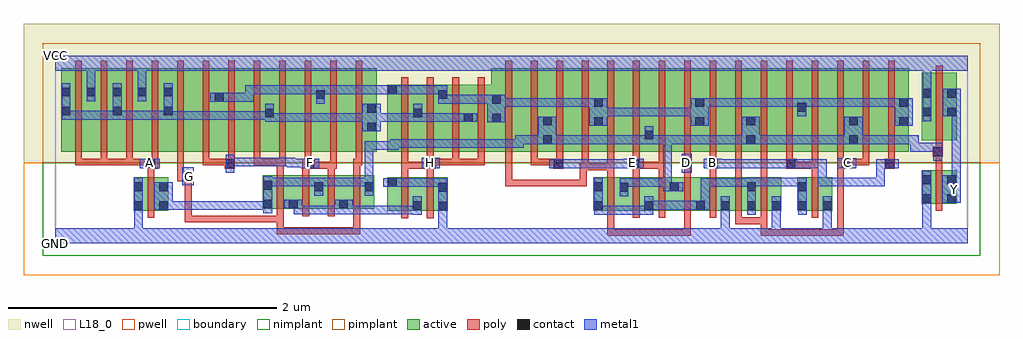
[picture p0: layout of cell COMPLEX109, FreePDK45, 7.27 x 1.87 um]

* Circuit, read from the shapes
.subckt COMPLEX109 A B C D E F G GND H VCC Y
M1 n1 A GND VSUBS nfet w=0.25u l=0.05u
M2 n2 G n1 VSUBS nfet w=0.25u l=0.05u m=2
M3 n1 F n2 VSUBS nfet w=0.25u l=0.05u m=2
M4 n2 H GND VSUBS nfet w=0.25u l=0.05u m=2
M5 n1 D n3 VSUBS nfet w=0.25u l=0.05u m=2
M6 n3 E n1 VSUBS nfet w=0.25u l=0.05u m=2
M7 GND B n3 VSUBS nfet w=0.25u l=0.05u m=2
M8 n3 C GND VSUBS nfet w=0.25u l=0.05u m=2
M9 Y n1 GND VSUBS nfet w=0.25u l=0.05u
M10 VCC A n4 n5 pfet w=0.625u l=0.05u m=4
M11 n6 G n4 n5 pfet w=0.625u l=0.05u
M12 n7 F n6 n5 pfet w=0.625u l=0.05u
M13 n8 F n7 n5 pfet w=0.625u l=0.05u
M14 n4 G n8 n5 pfet w=0.625u l=0.05u
M15 n9 G n4 n5 pfet w=0.625u l=0.05u
M16 n7 F n9 n5 pfet w=0.625u l=0.05u
M17 n10 F n7 n5 pfet w=0.625u l=0.05u
M18 n4 G n10 n5 pfet w=0.625u l=0.05u
M19 n4 H n7 n5 pfet w=0.5u l=0.05u m=4
M20 n11 D n7 n5 pfet w=0.625u l=0.05u
M21 n1 E n11 n5 pfet w=0.625u l=0.05u
M22 n12 E n1 n5 pfet w=0.625u l=0.05u
M23 n7 D n12 n5 pfet w=0.625u l=0.05u
M24 n13 D n7 n5 pfet w=0.625u l=0.05u
M25 n1 E n13 n5 pfet w=0.625u l=0.05u
M26 n14 E n1 n5 pfet w=0.625u l=0.05u
M27 n7 D n14 n5 pfet w=0.625u l=0.05u
M28 n15 B n7 n5 pfet w=0.625u l=0.05u
M29 n1 C n15 n5 pfet w=0.625u l=0.05u
M30 n16 C n1 n5 pfet w=0.625u l=0.05u
M31 n7 B n16 n5 pfet w=0.625u l=0.05u
M32 n17 B n7 n5 pfet w=0.625u l=0.05u
M33 n1 C n17 n5 pfet w=0.625u l=0.05u
M34 n18 C n1 n5 pfet w=0.625u l=0.05u
M35 n7 B n18 n5 pfet w=0.625u l=0.05u
M36 Y n1 VCC n5 pfet w=0.5u l=0.05u
.ends

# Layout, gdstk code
import gdstk
lib = gdstk.Library(unit=1e-6, precision=1e-09)
def R(c, l, rs):  # rectangles x0, y0, x1, y1
    for r in rs: c.add(gdstk.rectangle(r[:2], r[2:], *l))
def A(c, l, x, y, w, h, nx, ny, dx, dy):  # array of equal rectangles
    R(c, l, [(x+i*dx, y+j*dy, x+i*dx+w, y+j*dy+h) for i in range(nx) for j in range(ny)])
active = (1, 0)
pwell = (2, 0)
nwell = (3, 0)
nimplant = (4, 0)
pimplant = (5, 0)
poly = (9, 0)
contact = (10, 0)
metal1 = (11, 0)
L18_0 = (18, 0)
boundary = (235, 0)

complex109 = lib.new_cell('COMPLEX109')
A(complex109, active, 4.77, 0.245, 0.26, 0.25, 3, 1, 0.38, 0)
A(complex109, active, 0.045, 0.682, 0.075, 0.518, 4, 1, 0.38, 0)
A(complex109, active, 1.41, 0.682, 0.225, 0.625, 3, 1, 0.38, 0)
A(complex109, active, 3.25, 0.682, 0.225, 0.625, 3, 1, 0.38, 0)
A(complex109, active, 4.615, 0.682, 0.225, 0.625, 3, 1, 0.38, 0)
A(complex109, active, 4.765, 0.682, 0.075, 0.518, 3, 1, 0.76, 0)
A(complex109, active, 4.765, 0.682, 0.23, 0.625, 3, 1, 0.38, 0)
R(complex109, active, [(2.475,0.242,2.735,0.492), (2.66,0.242,2.925,0.492), (2.66,0.242,2.735,0.342), (2.85,0.242,2.925,0.492), (0.585,0.245,0.66,0.495), (0.585,0.245,0.845,0.495), (0.77,0.245,0.845,0.495), (4.01,0.245,4.085,0.495), (4.01,0.245,4.275,0.495), (4.2,0.245,4.46,0.495), (4.385,0.245,4.65,0.495), (4.385,0.245,4.46,0.467), (4.575,0.245,4.845,0.495), (4.77,0.245,4.845,0.342), (4.955,0.245,5.225,0.495), (4.955,0.245,5.03,0.342), (5.15,0.245,5.225,0.46), (5.335,0.245,5.41,0.495), (5.53,0.245,5.605,0.495), (5.715,0.245,5.79,0.495), (1.547,0.257,1.622,0.507), (1.547,0.257,1.812,0.507), (1.737,0.257,2.002,0.507), (1.737,0.257,1.812,0.372), (1.927,0.257,2.187,0.507), (2.112,0.257,2.377,0.507), (2.112,0.257,2.187,0.405), (1.927,0.297,2.002,0.467), (2.302,0.297,2.377,0.507), (2.475,0.297,2.55,0.492), (4.2,0.297,4.275,0.457), (4.575,0.297,4.65,0.46), (6.455,0.297,6.53,0.547), (6.455,0.297,6.715,0.547), (6.64,0.297,6.715,0.547), (0.045,0.682,0.305,1.307), (0.23,0.682,0.5,1.307), (0.23,0.682,0.305,1.307), (0.425,0.682,0.685,1.307), (0.61,0.682,0.88,1.307), (0.61,0.682,0.685,1.282), (0.805,0.682,1.03,1.307), (1.03,0.682,1.26,1.307), (1.185,0.682,1.41,1.307), (1.56,0.682,1.635,1.07), (1.56,0.682,1.79,1.307), (1.94,0.682,2.015,1.2), (1.94,0.682,2.17,1.307), (2.32,0.682,2.395,1.07), (2.475,0.682,2.74,1.182), (2.665,0.682,2.925,1.182), (2.85,0.682,3.115,1.182), (3.04,0.682,3.115,1.07), (3.04,0.682,3.325,1.182), (3.25,0.682,3.325,1.2), (3.475,0.682,3.705,1.307), (3.63,0.682,3.705,1.07), (3.855,0.682,4.085,1.307), (4.01,0.682,4.085,1.2), (4.235,0.682,4.462,1.307), (4.387,0.682,4.462,1.07), (4.387,0.682,4.615,1.307), (5.145,0.682,5.22,1.07), (5.755,0.682,5.985,1.307), (5.91,0.682,6.135,1.307), (5.91,0.682,5.985,1.07), (6.135,0.682,6.36,1.307), (2.475,0.72,2.55,1.182), (2.665,0.722,2.74,1.07), (6.457,0.77,6.532,1.157), (6.457,0.77,6.717,1.27), (6.642,0.77,6.717,1.157), (2.85,0.807,2.925,1.157)])
R(complex109, pwell, [(-0.235,-0.235,7.035,0.602)])
R(complex109, nwell, [(-0.235,0.602,7.035,1.635)])
R(complex109, nimplant, [(-0.09,-0.09,6.89,0.602)])
R(complex109, pimplant, [(-0.09,0.602,6.89,1.49)])
A(complex109, poly, 4.115, 0.19, 0.05, 0.36, 7, 1, 0.19, 0)
A(complex109, poly, 1.652, 0.202, 0.05, 0.36, 4, 1, 0.19, 0)
A(complex109, poly, 4.305, 0.5, 0.05, 0.107, 4, 1, 0.19, 0)
A(complex109, poly, 0.15, 0.582, 0.05, 0.095, 4, 1, 0.19, 0)
A(complex109, poly, 0.15, 0.582, 0.05, 0.05, 3, 1, 0.19, 0)
A(complex109, poly, 1.1, 0.582, 0.05, 0.095, 5, 1, 0.19, 0)
A(complex109, poly, 2.77, 0.582, 0.05, 0.095, 3, 1, 0.19, 0)
A(complex109, poly, 5.825, 0.582, 0.05, 0.095, 3, 1, 0.19, 0)
A(complex109, poly, 0.15, 0.627, 0.05, 0.735, 12, 1, 0.19, 0)
A(complex109, poly, 2.58, 0.627, 0.05, 0.61, 4, 1, 0.19, 0)
A(complex109, poly, 3.355, 0.627, 0.05, 0.735, 16, 1, 0.19, 0)
R(complex109, poly, [(4.115,0.057,4.165,0.107), (4.115,0.057,4.165,0.107), (4.115,0.057,4.165,0.107), (4.115,0.057,4.165,0.107), (4.115,0.057,4.165,0.107), (4.115,0.057,4.165,0.24), (4.115,0.057,4.412,0.107), (4.362,0.057,4.412,0.107), (4.362,0.057,4.412,0.107), (4.362,0.057,4.412,0.107), (4.362,0.057,4.545,0.107), (4.495,0.057,4.545,0.107), (4.495,0.057,4.735,0.107), (4.685,0.057,4.735,0.107), (4.685,0.057,4.735,0.107), (4.685,0.057,4.735,0.107), (4.685,0.057,4.735,0.107), (4.685,0.057,4.735,0.107), (4.685,0.057,4.735,0.24), (5.255,0.057,5.305,0.107), (5.255,0.057,5.305,0.107), (5.255,0.057,5.437,0.107), (5.255,0.057,5.305,0.195), (5.387,0.057,5.437,0.107), (5.387,0.057,5.437,0.107), (5.387,0.057,5.437,0.107), (5.387,0.057,5.742,0.107), (5.692,0.057,5.742,0.107), (5.692,0.057,5.875,0.107), (5.825,0.057,5.875,0.107), (5.825,0.057,5.875,0.107), (5.825,0.057,5.875,0.107), (5.825,0.057,5.875,0.107), (5.825,0.057,5.875,0.107), (5.825,0.057,5.875,0.107), (5.825,0.057,5.875,0.107), (5.825,0.057,5.875,0.607), (1.652,0.07,1.835,0.12), (1.652,0.07,1.702,0.207), (1.785,0.07,1.835,0.12), (1.785,0.07,1.835,0.12), (1.785,0.07,1.835,0.12), (1.785,0.07,2.07,0.12), (2.02,0.07,2.07,0.12), (2.02,0.07,2.07,0.12), (2.02,0.07,2.07,0.12), (2.02,0.07,2.272,0.12), (2.222,0.07,2.272,0.12), (2.222,0.07,2.272,0.12), (2.222,0.07,2.272,0.12), (2.222,0.07,2.272,0.252), (5.065,0.145,5.115,0.24), (5.065,0.145,5.115,0.195), (5.065,0.145,5.115,0.195), (5.065,0.145,5.115,0.195), (5.065,0.145,5.305,0.195), (5.255,0.145,5.305,0.24), (0.967,0.157,1.017,0.207), (0.967,0.157,1.017,0.207), (0.967,0.157,1.017,0.207), (0.967,0.157,1.017,0.207), (0.967,0.157,1.017,0.207), (0.967,0.157,1.017,0.207), (0.967,0.157,1.017,0.207), (0.967,0.157,1.182,0.207), (0.967,0.157,1.017,0.512), (1.132,0.157,1.182,0.207), (1.132,0.157,1.182,0.207), (1.132,0.157,1.182,0.207), (1.132,0.157,1.315,0.207), (1.265,0.157,1.315,0.207), (1.265,0.157,1.315,0.207), (1.265,0.157,1.315,0.207), (1.265,0.157,1.57,0.207), (1.52,0.157,1.57,0.207), (1.52,0.157,1.57,0.207), (1.52,0.157,1.57,0.207), (1.52,0.157,1.702,0.207), (1.652,0.157,1.702,0.252), (2.58,0.187,2.63,0.547), (2.77,0.187,2.82,0.547), (0.69,0.19,0.74,0.55), (5.635,0.19,5.685,0.55), (6.56,0.242,6.61,0.602), (3.355,0.425,3.405,0.475), (3.355,0.425,3.405,0.475), (3.355,0.425,3.405,0.475), (3.355,0.425,3.405,0.475), (3.355,0.425,3.405,0.475), (3.355,0.425,3.405,0.475), (3.355,0.425,3.405,0.475), (3.355,0.425,3.627,0.475), (3.355,0.425,3.405,0.677), (3.577,0.425,3.627,0.475), (3.577,0.425,3.627,0.475), (3.577,0.425,3.627,0.475), (3.577,0.425,3.76,0.475), (3.71,0.425,3.76,0.475), (3.71,0.425,3.76,0.475), (3.71,0.425,3.76,0.475), (3.71,0.425,3.96,0.475), (3.91,0.425,3.96,0.475), (3.91,0.425,3.96,0.475), (3.91,0.425,3.96,0.475), (3.91,0.425,3.96,0.595), (0.91,0.462,1.017,0.537), (0.91,0.487,0.96,0.677), (2.58,0.497,2.63,0.607), (2.77,0.497,2.82,0.607), (0.69,0.5,0.74,0.607), (4.115,0.5,4.165,0.595), (5.065,0.5,5.115,0.595), (5.255,0.5,5.305,0.595), (5.635,0.5,5.685,0.607), (1.652,0.512,1.702,0.632), (1.842,0.512,1.892,0.607), (2.032,0.512,2.082,0.607), (2.222,0.512,2.272,0.632), (3.91,0.545,3.975,0.595), (3.925,0.545,3.975,0.595), (3.925,0.545,3.975,0.595), (3.925,0.545,3.975,0.677), (3.925,0.545,4.165,0.595), (4.115,0.545,4.165,0.595), (4.115,0.545,4.165,0.677), (5.065,0.545,5.115,0.595), (5.065,0.545,5.115,0.677), (5.255,0.545,5.305,0.595), (5.255,0.545,5.305,0.677), (6.56,0.552,6.61,0.695), (0.675,0.557,0.77,0.632), (1.265,0.557,1.34,0.632), (1.842,0.557,1.937,0.632), (1.887,0.557,2.082,0.607), (2.032,0.557,2.082,0.607), (2.032,0.557,2.082,0.607), (2.032,0.557,2.1,0.607), (2.05,0.557,2.1,0.677), (2.58,0.557,2.63,0.607), (2.58,0.557,2.63,0.607), (2.58,0.557,2.63,0.607), (2.58,0.557,2.63,0.677), (2.58,0.557,2.812,0.607), (2.762,0.557,2.837,0.632), (3.71,0.557,3.785,0.632), (4.28,0.557,4.355,0.632), (4.305,0.557,4.355,0.607), (4.305,0.557,4.355,0.607), (4.305,0.557,4.545,0.607), (4.495,0.557,4.545,0.607), (4.495,0.557,4.545,0.677), (4.665,0.557,4.74,0.632), (4.862,0.557,4.937,0.632), (5.445,0.557,5.52,0.632), (5.47,0.557,5.52,0.607), (5.47,0.557,5.52,0.607), (5.47,0.557,5.685,0.607), (5.635,0.557,5.685,0.607), (5.635,0.557,5.685,0.677), (5.825,0.557,5.93,0.632), (6.18,0.557,6.255,0.632), (0.15,0.582,0.2,0.632), (0.15,0.582,0.2,0.632), (0.15,0.582,0.39,0.632), (0.34,0.582,0.58,0.632), (0.53,0.582,0.58,0.632), (0.53,0.582,0.58,0.632), (0.53,0.582,0.725,0.632), (0.675,0.582,0.725,0.632), (0.675,0.582,0.725,0.632), (1.1,0.582,1.15,0.632), (1.1,0.582,1.15,0.632), (1.1,0.582,1.15,0.632), (1.1,0.582,1.315,0.632), (1.48,0.582,1.53,0.632), (1.48,0.582,1.702,0.632), (1.652,0.582,1.702,0.632), (1.652,0.582,1.702,0.632), (1.652,0.582,1.72,0.632), (2.222,0.582,2.29,0.632), (2.24,0.582,2.29,0.677), (2.787,0.582,2.837,0.632), (2.787,0.582,2.837,0.632), (2.787,0.582,3.01,0.632), (2.96,0.582,3.01,0.632), (2.96,0.582,3.01,0.632), (2.96,0.582,3.01,0.632), (2.96,0.582,3.2,0.632), (3.15,0.582,3.2,0.632), (3.545,0.582,3.595,0.677), (3.545,0.582,3.595,0.632), (3.545,0.582,3.627,0.632), (3.577,0.582,3.627,0.632), (3.577,0.582,3.76,0.632), (3.735,0.582,3.785,0.677), (4.305,0.582,4.355,0.677), (4.685,0.582,4.735,0.677), (4.875,0.582,4.925,0.677), (5.445,0.582,5.495,0.677), (5.88,0.582,6.065,0.632), (6.015,0.582,6.065,0.632), (6.015,0.582,6.065,0.632), (6.015,0.582,6.065,0.632), (6.537,0.645,6.612,0.72), (6.562,0.67,6.612,0.765), (6.562,0.715,6.612,1.325)])
A(complex109, contact, 0.05, 0.955, 0.065, 0.065, 3, 1, 0.38, 0)
R(complex109, contact, [(2.855,0.247,2.92,0.312), (0.59,0.25,0.655,0.315), (0.775,0.25,0.84,0.315), (2.665,0.25,2.73,0.315), (4.015,0.25,4.08,0.315), (4.39,0.25,4.455,0.315), (4.96,0.25,5.025,0.315), (5.155,0.25,5.22,0.315), (5.34,0.25,5.405,0.315), (5.535,0.25,5.6,0.315), (5.72,0.25,5.785,0.315), (4.775,0.252,4.84,0.317), (1.552,0.262,1.617,0.327), (1.742,0.262,1.807,0.327), (2.117,0.262,2.182,0.327), (6.46,0.302,6.525,0.367), (6.645,0.302,6.71,0.367), (2.855,0.387,2.92,0.452), (4.205,0.387,4.27,0.452), (0.59,0.39,0.655,0.455), (0.775,0.39,0.84,0.455), (1.932,0.39,1.997,0.455), (2.307,0.39,2.372,0.455), (4.015,0.39,4.08,0.455), (4.58,0.39,4.645,0.455), (5.155,0.39,5.22,0.455), (5.535,0.39,5.6,0.455), (1.552,0.402,1.617,0.467), (2.48,0.422,2.545,0.487), (6.46,0.442,6.525,0.507), (6.645,0.442,6.71,0.507), (0.947,0.467,1.012,0.532), (0.68,0.562,0.745,0.627), (1.27,0.562,1.335,0.627), (1.867,0.562,1.932,0.627), (2.767,0.562,2.832,0.627), (3.715,0.562,3.78,0.627), (4.285,0.562,4.35,0.627), (4.67,0.562,4.735,0.627), (4.867,0.562,4.932,0.627), (5.45,0.562,5.515,0.627), (5.86,0.562,5.925,0.627), (6.185,0.562,6.25,0.627), (6.542,0.65,6.607,0.715), (3.635,0.74,3.7,0.805), (5.15,0.74,5.215,0.805), (5.915,0.74,5.98,0.805), (4.392,0.775,4.457,0.84), (2.325,0.835,2.39,0.9), (4.015,0.877,4.08,0.942), (4.77,0.877,4.835,0.942), (6.29,0.877,6.355,0.942), (3.635,0.88,3.7,0.945), (5.15,0.88,5.215,0.945), (5.915,0.88,5.98,0.945), (3.255,0.902,3.32,0.967), (3.045,0.905,3.11,0.97), (1.565,0.94,1.63,1.005), (2.67,0.94,2.735,1.005), (6.462,0.947,6.527,1.012), (6.647,0.947,6.712,1.012), (2.325,0.975,2.39,1.04), (5.53,0.982,5.595,1.047), (4.015,1.017,4.08,1.082), (4.77,1.017,4.835,1.082), (6.29,1.017,6.355,1.082), (3.255,1.042,3.32,1.107), (1.19,1.057,1.255,1.122), (1.945,1.077,2.01,1.142), (2.855,1.077,2.92,1.142), (6.462,1.087,6.527,1.152), (6.647,1.087,6.712,1.152), (0.05,1.095,0.115,1.16), (0.235,1.095,0.3,1.16), (0.43,1.095,0.495,1.16), (0.615,1.095,0.68,1.16), (0.81,1.095,0.875,1.16), (2.48,1.112,2.545,1.177)])
A(complex109, metal1, 4.96, 0.05, 0.065, 0.23, 3, 1, 0.38, 0)
A(complex109, metal1, 4.96, 0.215, 0.065, 0.135, 3, 1, 0.38, 0)
A(complex109, metal1, 1.777, 0.217, 0.203, 0.065, 3, 1, 0.375, 0)
A(complex109, metal1, 0.05, 0.92, 0.065, 0.275, 3, 1, 0.38, 0)
R(complex109, metal1, [(0,0,6.8,0.115), (0.59,0.05,0.655,0.115), (0.59,0.05,0.655,0.115), (0.59,0.05,0.655,0.115), (0.59,0.05,0.655,0.115), (0.59,0.05,0.655,0.28), (2.855,0.05,2.92,0.115), (2.855,0.05,2.92,0.115), (2.855,0.05,2.92,0.115), (2.855,0.05,2.92,0.115), (2.855,0.05,2.92,0.277), (4.96,0.05,5.025,0.115), (4.96,0.05,5.025,0.115), (4.96,0.05,5.025,0.115), (4.96,0.05,5.025,0.115), (5.72,0.05,5.785,0.115), (5.72,0.05,5.785,0.115), (5.72,0.05,5.785,0.115), (5.72,0.05,5.785,0.115), (6.46,0.05,6.525,0.115), (6.46,0.05,6.525,0.115), (6.46,0.05,6.525,0.332), (2.855,0.212,2.92,0.487), (0.59,0.215,0.655,0.49), (2.665,0.215,2.73,0.35), (4.015,0.215,4.08,0.49), (4.015,0.215,4.09,0.28), (4.025,0.215,4.09,0.28), (4.025,0.215,4.252,0.28), (4.187,0.215,4.252,0.28), (4.187,0.215,4.252,0.28), (4.187,0.215,4.252,0.28), (4.187,0.215,4.455,0.28), (4.39,0.215,4.455,0.35), (5.155,0.215,5.22,0.49), (5.34,0.215,5.405,0.28), (5.34,0.215,5.405,0.28), (5.34,0.215,5.405,0.28), (5.34,0.215,5.405,0.28), (5.535,0.215,5.6,0.49), (1.777,0.217,1.842,0.327), (1.915,0.217,1.98,0.282), (1.915,0.217,1.98,0.282), (1.915,0.217,1.98,0.282), (1.915,0.217,2.147,0.282), (2.082,0.217,2.217,0.327), (2.29,0.217,2.355,0.282), (2.29,0.217,2.355,0.282), (2.29,0.217,2.355,0.282), (2.29,0.217,2.592,0.282), (2.527,0.217,2.592,0.282), (2.527,0.217,2.592,0.282), (2.527,0.217,2.592,0.282), (1.552,0.227,1.617,0.502), (0.74,0.25,0.875,0.455), (0.81,0.25,0.875,0.315), (0.81,0.25,0.875,0.315), (0.81,0.25,1.032,0.315), (0.967,0.25,1.032,0.315), (0.967,0.25,1.032,0.315), (0.967,0.25,1.032,0.315), (0.967,0.25,1.17,0.315), (1.105,0.25,1.17,0.315), (1.105,0.25,1.17,0.315), (1.105,0.25,1.17,0.315), (1.105,0.25,1.48,0.315), (1.415,0.25,1.48,0.315), (1.415,0.25,1.48,0.315), (1.415,0.25,1.48,0.315), (1.415,0.25,1.617,0.315), (4.39,0.252,4.595,0.317), (4.53,0.252,4.595,0.317), (4.53,0.252,4.595,0.317), (4.53,0.252,4.595,0.317), (4.53,0.252,4.76,0.317), (4.695,0.252,4.76,0.317), (4.695,0.252,4.805,0.317), (4.74,0.252,4.875,0.317), (4.81,0.252,4.875,0.487), (1.707,0.262,1.842,0.327), (1.777,0.262,1.842,0.327), (6.46,0.267,6.525,0.332), (6.46,0.267,6.525,0.332), (6.46,0.267,6.525,0.542), (6.61,0.302,6.745,0.507), (4.205,0.352,4.27,0.487), (1.932,0.355,1.997,0.49), (2.307,0.355,2.372,0.49), (4.53,0.39,4.595,0.455), (4.53,0.39,4.595,0.805), (4.53,0.39,4.68,0.455), (4.53,0.39,4.595,0.487), (2.445,0.422,2.58,0.487), (2.515,0.422,2.58,0.487), (2.515,0.422,2.58,0.487), (2.515,0.422,2.735,0.487), (2.67,0.422,2.735,0.487), (2.67,0.422,2.735,0.487), (2.67,0.422,2.735,0.487), (2.67,0.422,2.92,0.487), (2.855,0.422,2.92,0.487), (2.855,0.422,2.92,0.487), (4.205,0.422,4.27,0.487), (4.205,0.422,4.27,0.487), (4.205,0.422,4.435,0.487), (4.37,0.422,4.435,0.487), (4.37,0.422,4.595,0.487), (4.81,0.422,4.875,0.487), (4.81,0.422,5.012,0.487), (4.947,0.422,5.012,0.487), (4.947,0.422,5.012,0.487), (4.947,0.422,5.012,0.487), (4.947,0.422,5.18,0.487), (5.115,0.422,5.18,0.487), (5.115,0.422,5.22,0.487), (1.552,0.425,1.617,0.49), (1.552,0.425,1.617,0.49), (1.552,0.425,1.617,0.49), (1.552,0.425,1.767,0.49), (1.552,0.425,1.617,0.502), (1.702,0.425,1.767,0.49), (1.702,0.425,1.767,0.49), (1.702,0.425,1.767,0.49), (1.702,0.425,1.997,0.49), (1.932,0.425,1.997,0.49), (1.932,0.425,1.997,0.49), (1.932,0.425,2.217,0.49), (2.152,0.425,2.217,0.49), (2.152,0.425,2.217,0.49), (2.152,0.425,2.217,0.49), (2.152,0.425,2.372,0.49), (2.307,0.425,2.372,0.762), (5.155,0.425,5.342,0.49), (5.277,0.425,5.342,0.49), (5.277,0.425,5.412,0.49), (5.347,0.425,5.412,0.49), (5.347,0.425,5.6,0.49), (5.535,0.425,5.6,0.49), (5.535,0.425,5.6,0.49), (5.682,0.425,5.747,0.49), (5.682,0.425,5.747,0.627), (5.682,0.425,5.89,0.49), (5.825,0.425,5.89,0.49), (5.825,0.425,6.045,0.49), (5.98,0.425,6.045,0.49), (5.98,0.425,6.045,0.49), (5.98,0.425,6.045,0.49), (5.98,0.425,6.182,0.49), (6.117,0.425,6.182,0.49), (6.117,0.425,6.182,0.627), (0.947,0.432,1.032,0.567), (6.68,0.442,6.745,1.012), (6.68,0.442,6.745,0.507), (6.68,0.442,6.745,0.507), (6.68,0.442,6.745,0.507), (6.68,0.442,6.745,0.507), (1.27,0.527,1.335,0.662), (4.667,0.527,4.742,0.667), (0.632,0.562,0.78,0.632), (1.832,0.562,1.967,0.632), (2.732,0.562,2.867,0.64), (3.68,0.562,3.815,0.627), (3.75,0.562,3.872,0.627), (3.807,0.562,3.872,0.627), (3.807,0.562,3.952,0.627), (3.887,0.562,3.952,0.627), (3.887,0.562,4.09,0.627), (4.025,0.562,4.09,0.627), (4.025,0.562,4.09,0.627), (4.025,0.562,4.09,0.627), (4.025,0.562,4.297,0.627), (4.232,0.562,4.297,0.627), (4.232,0.562,4.297,0.627), (4.232,0.562,4.385,0.632), (4.832,0.562,4.967,0.632), (4.902,0.562,5.012,0.627), (4.947,0.562,5.012,0.627), (4.947,0.562,5.18,0.627), (5.115,0.562,5.18,0.627), (5.115,0.562,5.18,0.627), (5.115,0.562,5.18,0.627), (5.115,0.562,5.342,0.627), (5.277,0.562,5.342,0.627), (5.277,0.562,5.412,0.627), (5.347,0.562,5.412,0.627), (5.347,0.562,5.48,0.627), (5.415,0.562,5.55,0.627), (5.485,0.562,5.55,0.627), (5.485,0.562,5.55,0.627), (5.485,0.562,5.747,0.627), (5.682,0.562,5.747,0.627), (5.682,0.562,5.747,0.627), (5.682,0.562,5.747,0.627), (5.825,0.562,5.967,0.635), (6.117,0.562,6.182,0.627), (6.117,0.562,6.215,0.627), (6.15,0.562,6.285,0.627), (1.725,0.567,1.897,0.632), (1.725,0.567,1.79,0.64), (1.27,0.575,1.48,0.64), (1.415,0.575,1.48,0.64), (1.415,0.575,1.48,0.64), (1.415,0.575,1.48,0.64), (1.415,0.575,1.617,0.64), (1.552,0.575,1.617,0.64), (1.552,0.575,1.617,0.64), (1.552,0.575,1.617,0.64), (1.552,0.575,1.79,0.64), (6.542,0.615,6.607,0.75), (6.37,0.685,6.435,0.75), (6.37,0.685,6.435,0.75), (6.37,0.685,6.435,0.75), (6.37,0.685,6.607,0.75), (6.37,0.685,6.435,0.805), (2.307,0.697,2.372,0.762), (2.307,0.697,2.372,0.762), (2.307,0.697,2.372,0.762), (2.307,0.697,2.562,0.762), (2.497,0.697,2.562,0.762), (2.497,0.697,2.562,0.762), (2.497,0.697,2.562,0.777), (2.497,0.712,2.735,0.777), (2.67,0.712,2.735,0.777), (2.67,0.712,2.872,0.777), (2.807,0.712,2.872,0.777), (2.807,0.712,2.872,0.777), (2.807,0.712,2.872,0.777), (2.807,0.712,3.01,0.777), (2.945,0.712,3.01,0.777), (2.945,0.712,3.147,0.777), (3.082,0.712,3.147,0.777), (3.082,0.712,3.147,0.777), (3.082,0.712,3.147,0.777), (3.082,0.712,3.285,0.777), (3.22,0.712,3.285,0.777), (3.22,0.712,3.285,0.777), (3.22,0.712,3.285,0.777), (3.22,0.712,3.492,0.777), (3.427,0.712,3.492,0.805), (3.427,0.74,3.492,0.805), (3.427,0.74,3.492,0.805), (3.427,0.74,3.665,0.805), (3.6,0.74,3.735,0.945), (3.67,0.74,3.735,0.805), (3.67,0.74,3.735,0.805), (3.67,0.74,3.907,0.805), (3.842,0.74,3.907,0.805), (3.842,0.74,3.952,0.805), (3.887,0.74,3.952,0.805), (3.887,0.74,4.09,0.805), (4.025,0.74,4.09,0.805), (4.025,0.74,4.09,0.805), (4.025,0.74,4.09,0.805), (4.025,0.74,4.297,0.805), (4.232,0.74,4.297,0.805), (4.232,0.74,4.297,0.805), (4.232,0.74,4.297,0.805), (4.232,0.74,4.457,0.805), (4.392,0.74,4.457,0.875), (4.392,0.74,4.59,0.805), (4.525,0.74,4.59,0.805), (4.525,0.74,4.595,0.805), (4.53,0.74,4.595,0.805), (4.53,0.74,4.595,0.805), (4.53,0.74,4.595,0.805), (4.53,0.74,4.76,0.805), (4.695,0.74,4.76,0.805), (4.695,0.74,4.76,0.805), (4.695,0.74,4.76,0.805), (4.695,0.74,5.012,0.805), (4.947,0.74,5.012,0.805), (4.947,0.74,5.012,0.805), (4.947,0.74,5.012,0.805), (4.947,0.74,5.18,0.805), (5.115,0.74,5.25,0.945), (5.115,0.74,5.18,0.805), (5.115,0.74,5.18,0.805), (5.185,0.74,5.317,0.805), (5.252,0.74,5.317,0.805), (5.252,0.74,5.412,0.805), (5.347,0.74,5.412,0.805), (5.347,0.74,5.412,0.805), (5.347,0.74,5.412,0.805), (5.347,0.74,5.55,0.805), (5.485,0.74,5.55,0.805), (5.485,0.74,5.55,0.805), (5.485,0.74,5.55,0.805), (5.485,0.74,5.737,0.805), (5.672,0.74,5.737,0.805), (5.672,0.74,5.737,0.805), (5.672,0.74,5.737,0.805), (5.672,0.74,5.89,0.805), (5.825,0.74,5.89,0.805), (5.825,0.74,5.945,0.805), (5.88,0.74,6.015,0.945), (5.95,0.74,6.027,0.805), (5.962,0.74,6.027,0.805), (5.962,0.74,6.182,0.805), (6.117,0.74,6.182,0.805), (6.117,0.74,6.182,0.805), (6.117,0.74,6.182,0.805), (6.117,0.74,6.435,0.805), (6.37,0.74,6.435,0.805), (6.37,0.74,6.435,0.805), (6.37,0.74,6.435,0.805), (2.29,0.835,2.425,1.04), (3.98,0.877,4.115,1.082), (4.735,0.877,4.87,1.082), (6.255,0.877,6.39,1.082), (3.22,0.902,3.355,1.107), (1.565,0.905,1.63,0.97), (1.565,0.905,1.63,0.97), (1.565,0.905,1.63,1.04), (1.565,0.905,1.842,0.97), (1.777,0.905,1.842,0.97), (1.777,0.905,1.842,0.97), (1.777,0.905,1.842,0.97), (1.777,0.905,1.842,0.97), (1.777,0.905,1.842,0.97), (1.777,0.905,1.98,0.97), (1.915,0.905,1.98,0.97), (1.915,0.905,1.98,0.97), (1.915,0.905,1.98,0.97), (1.915,0.905,2.217,0.97), (2.152,0.905,2.217,0.97), (2.152,0.905,2.217,0.97), (2.152,0.905,2.217,0.97), (2.152,0.905,2.355,0.97), (2.36,0.905,2.562,0.97), (2.497,0.905,2.562,0.97), (2.497,0.905,2.562,0.97), (2.497,0.905,2.562,0.97), (2.497,0.905,2.735,0.97), (2.67,0.905,2.735,0.97), (2.67,0.905,2.735,0.97), (2.67,0.905,2.735,1.04), (2.67,0.905,2.872,0.97), (2.807,0.905,2.872,0.97), (2.807,0.905,3.01,0.97), (2.945,0.905,3.01,0.97), (2.945,0.905,3.075,0.97), (3.01,0.905,3.145,0.97), (6.462,0.912,6.527,1.187), (0.81,0.92,0.875,0.985), (0.81,0.92,0.875,0.985), (0.81,0.92,1.012,0.985), (0.947,0.92,1.012,0.985), (0.947,0.92,1.012,0.985), (0.947,0.92,1.012,0.985), (0.947,0.92,1.17,0.985), (1.105,0.92,1.17,0.985), (1.105,0.92,1.17,0.985), (1.105,0.92,1.17,0.985), (1.105,0.92,1.48,0.985), (1.415,0.92,1.48,0.985), (1.415,0.92,1.48,0.985), (1.415,0.92,1.48,0.985), (1.415,0.92,1.63,0.985), (0.05,0.922,0.115,0.987), (0.05,0.922,0.115,0.987), (0.05,0.922,0.357,0.987), (0.292,0.922,0.357,0.987), (0.292,0.922,0.357,0.987), (0.292,0.922,0.357,0.987), (0.292,0.922,0.495,0.987), (0.43,0.922,0.495,0.987), (0.43,0.922,0.495,0.987), (0.43,0.922,0.632,0.987), (0.567,0.922,0.632,0.987), (0.567,0.922,0.632,0.987), (0.567,0.922,0.632,0.987), (0.567,0.922,0.875,0.987), (4.05,0.947,4.115,1.012), (4.05,0.947,4.115,1.012), (4.05,0.947,4.297,1.012), (4.232,0.947,4.297,1.012), (4.232,0.947,4.297,1.012), (4.232,0.947,4.297,1.012), (4.232,0.947,4.435,1.012), (4.37,0.947,4.435,1.012), (4.37,0.947,4.435,1.012), (4.37,0.947,4.435,1.012), (4.37,0.947,4.622,1.012), (4.557,0.947,4.622,1.012), (4.557,0.947,4.732,1.012), (4.667,0.947,4.732,1.012), (4.667,0.947,4.8,1.012), (5.53,0.947,5.595,1.082), (6.612,0.947,6.747,1.152), (3.29,1.017,3.355,1.082), (3.29,1.017,3.355,1.082), (3.29,1.017,3.527,1.082), (3.462,1.017,3.527,1.082), (3.462,1.017,3.527,1.082), (3.462,1.017,3.527,1.082), (3.462,1.017,3.665,1.082), (3.6,1.017,3.665,1.082), (3.6,1.017,3.665,1.082), (3.6,1.017,3.665,1.082), (3.6,1.017,3.907,1.082), (3.842,1.017,3.907,1.082), (3.842,1.017,3.952,1.082), (3.887,1.017,3.952,1.082), (3.887,1.017,4.045,1.082), (4.805,1.017,5.012,1.082), (4.947,1.017,5.012,1.082), (4.947,1.017,5.012,1.082), (4.947,1.017,5.012,1.082), (4.947,1.017,5.15,1.082), (5.085,1.017,5.15,1.082), (5.085,1.017,5.15,1.082), (5.085,1.017,5.15,1.082), (5.085,1.017,5.342,1.082), (5.277,1.017,5.342,1.082), (5.277,1.017,5.387,1.082), (5.322,1.017,5.387,1.082), (5.322,1.017,5.595,1.082), (5.53,1.017,5.595,1.082), (5.53,1.017,5.595,1.082), (5.53,1.017,5.752,1.082), (5.687,1.017,5.752,1.082), (5.687,1.017,5.752,1.082), (5.687,1.017,5.752,1.082), (5.687,1.017,5.89,1.082), (5.825,1.017,5.89,1.082), (5.825,1.017,5.89,1.082), (5.825,1.017,5.89,1.082), (5.825,1.017,6.027,1.082), (5.962,1.017,6.027,1.082), (5.962,1.017,6.182,1.082), (6.117,1.017,6.182,1.082), (6.117,1.017,6.182,1.082), (6.117,1.017,6.182,1.082), (6.117,1.017,6.32,1.082), (1.945,1.042,2.01,1.177), (2.855,1.042,2.92,1.177), (2.855,1.042,3.01,1.107), (2.945,1.042,3.01,1.107), (2.945,1.042,3.147,1.107), (3.082,1.042,3.147,1.107), (3.082,1.042,3.147,1.107), (3.082,1.042,3.147,1.107), (3.082,1.042,3.285,1.107), (1.155,1.057,1.29,1.122), (1.225,1.057,1.29,1.122), (1.225,1.057,1.29,1.122), (1.225,1.057,1.48,1.122), (1.415,1.057,1.48,1.177), (0.235,1.06,0.3,1.195), (0.615,1.06,0.68,1.195), (1.415,1.112,1.48,1.177), (1.415,1.112,1.48,1.177), (1.415,1.112,1.617,1.177), (1.552,1.112,1.617,1.177), (1.552,1.112,1.617,1.177), (1.552,1.112,1.617,1.177), (1.552,1.112,1.842,1.177), (1.777,1.112,1.842,1.177), (1.777,1.112,1.842,1.177), (1.777,1.112,1.842,1.177), (1.777,1.112,2.01,1.177), (1.945,1.112,2.01,1.177), (1.945,1.112,2.01,1.177), (1.945,1.112,2.217,1.177), (2.152,1.112,2.217,1.177), (2.152,1.112,2.217,1.177), (2.152,1.112,2.217,1.177), (2.152,1.112,2.355,1.177), (2.29,1.112,2.355,1.177), (2.29,1.112,2.51,1.177), (2.445,1.112,2.58,1.177), (2.515,1.112,2.58,1.177), (2.515,1.112,2.58,1.177), (2.515,1.112,2.735,1.177), (2.67,1.112,2.735,1.177), (2.67,1.112,2.735,1.177), (2.67,1.112,2.735,1.177), (2.67,1.112,2.92,1.177), (6.462,1.122,6.527,1.35), (0.235,1.13,0.3,1.35), (0.615,1.13,0.68,1.35), (0,1.285,6.8,1.4), (6.462,1.285,6.527,1.35), (6.462,1.285,6.527,1.35)])
A(complex109, L18_0, 4.96, 0.05, 0.065, 0.23, 3, 1, 0.38, 0)
A(complex109, L18_0, 4.96, 0.215, 0.065, 0.135, 3, 1, 0.38, 0)
R(complex109, L18_0, [(0,0,6.8,0.115), (0.59,0.05,0.655,0.115), (0.59,0.05,0.655,0.115), (0.59,0.05,0.655,0.115), (0.59,0.05,0.655,0.115), (0.59,0.05,0.655,0.28), (2.855,0.05,2.92,0.115), (2.855,0.05,2.92,0.115), (2.855,0.05,2.92,0.115), (2.855,0.05,2.92,0.115), (2.855,0.05,2.92,0.277), (4.96,0.05,5.025,0.115), (4.96,0.05,5.025,0.115), (4.96,0.05,5.025,0.115), (4.96,0.05,5.025,0.115), (5.72,0.05,5.785,0.115), (5.72,0.05,5.785,0.115), (5.72,0.05,5.785,0.115), (5.72,0.05,5.785,0.115), (6.46,0.05,6.525,0.115), (6.46,0.05,6.525,0.115), (6.46,0.05,6.525,0.332), (2.855,0.212,2.92,0.487), (0.59,0.215,0.655,0.49), (5.34,0.215,5.405,0.28), (5.34,0.215,5.405,0.28), (5.34,0.215,5.405,0.28), (5.34,0.215,5.405,0.28), (6.46,0.267,6.525,0.332), (6.46,0.267,6.525,0.332), (6.46,0.267,6.525,0.542), (6.61,0.302,6.745,0.507), (6.667,0.367,6.732,0.432), (2.445,0.422,2.58,0.487), (2.515,0.422,2.58,0.487), (2.515,0.422,2.58,0.487), (2.515,0.422,2.735,0.487), (2.67,0.422,2.735,0.487), (2.67,0.422,2.735,0.487), (2.67,0.422,2.735,0.487), (2.67,0.422,2.92,0.487), (2.855,0.422,2.92,0.487), (2.855,0.422,2.92,0.487), (5.682,0.425,5.747,0.49), (5.682,0.425,5.747,0.627), (5.682,0.425,5.89,0.49), (5.825,0.425,5.89,0.49), (5.825,0.425,6.045,0.49), (5.98,0.425,6.045,0.49), (5.98,0.425,6.045,0.49), (5.98,0.425,6.045,0.49), (5.98,0.425,6.182,0.49), (6.117,0.425,6.182,0.49), (6.117,0.425,6.182,0.627), (0.947,0.432,1.032,0.567), (6.68,0.442,6.745,0.507), (6.68,0.442,6.745,0.507), (6.68,0.442,6.745,0.507), (6.68,0.442,6.745,0.507), (6.68,0.442,6.745,1.012), (0.967,0.467,1.032,0.532), (1.27,0.527,1.335,0.662), (4.667,0.527,4.742,0.667), (0.632,0.562,0.78,0.632), (1.832,0.562,1.967,0.632), (2.732,0.562,2.867,0.64), (3.68,0.562,3.815,0.627), (3.75,0.562,3.872,0.627), (3.807,0.562,3.872,0.627), (3.807,0.562,3.952,0.627), (3.887,0.562,3.952,0.627), (3.887,0.562,4.09,0.627), (4.025,0.562,4.09,0.627), (4.025,0.562,4.09,0.627), (4.025,0.562,4.09,0.627), (4.025,0.562,4.297,0.627), (4.232,0.562,4.297,0.627), (4.232,0.562,4.297,0.627), (4.232,0.562,4.385,0.632), (4.832,0.562,4.967,0.632), (4.902,0.562,5.012,0.627), (4.947,0.562,5.012,0.627), (4.947,0.562,5.18,0.627), (5.115,0.562,5.18,0.627), (5.115,0.562,5.18,0.627), (5.115,0.562,5.18,0.627), (5.115,0.562,5.342,0.627), (5.277,0.562,5.342,0.627), (5.277,0.562,5.412,0.627), (5.347,0.562,5.412,0.627), (5.347,0.562,5.48,0.627), (5.415,0.562,5.55,0.627), (5.485,0.562,5.55,0.627), (5.485,0.562,5.55,0.627), (5.485,0.562,5.747,0.627), (5.682,0.562,5.747,0.627), (5.682,0.562,5.747,0.627), (5.682,0.562,5.747,0.627), (5.825,0.562,5.967,0.635), (6.117,0.562,6.182,0.627), (6.117,0.562,6.215,0.627), (6.15,0.562,6.285,0.627), (0.667,0.567,0.732,0.632), (1.725,0.567,1.79,0.64), (1.725,0.567,1.897,0.632), (1.867,0.567,1.932,0.632), (2.767,0.567,2.832,0.632), (4.267,0.567,4.332,0.632), (4.667,0.567,4.732,0.632), (4.867,0.567,4.932,0.632), (5.867,0.567,5.932,0.632), (1.27,0.575,1.48,0.64), (1.415,0.575,1.48,0.64), (1.415,0.575,1.48,0.64), (1.415,0.575,1.48,0.64), (1.415,0.575,1.617,0.64), (1.552,0.575,1.617,0.64), (1.552,0.575,1.617,0.64), (1.552,0.575,1.617,0.64), (1.552,0.575,1.79,0.64), (6.462,0.912,6.527,1.187), (6.612,0.947,6.747,1.152), (0.235,1.06,0.3,1.195), (0.615,1.06,0.68,1.195), (6.462,1.122,6.527,1.35), (0.235,1.13,0.3,1.35), (0.615,1.13,0.68,1.35), (0,1.285,6.8,1.4), (6.462,1.285,6.527,1.35), (6.462,1.285,6.527,1.35)])
R(complex109, boundary, [(0,0,6.8,1.4)])
complex109.add(gdstk.Label('A', (0.7,0.6), layer=11, texttype=0))
complex109.add(gdstk.Label('B', (4.9,0.6), layer=11, texttype=0))
complex109.add(gdstk.Label('C', (5.9,0.6), layer=11, texttype=0))
complex109.add(gdstk.Label('D', (4.7,0.6), layer=11, texttype=0))
complex109.add(gdstk.Label('E', (4.3,0.6), layer=11, texttype=0))
complex109.add(gdstk.Label('F', (1.9,0.6), layer=11, texttype=0))
complex109.add(gdstk.Label('G', (1,0.5), layer=11, texttype=0))
complex109.add(gdstk.Label('H', (2.8,0.6), layer=11, texttype=0))
complex109.add(gdstk.Label('Y', (6.7,0.4), layer=11, texttype=0))
complex109.add(gdstk.Label('VCC', (0,1.4), layer=11, texttype=0))
complex109.add(gdstk.Label('GND', (0,0), layer=11, texttype=0))

lib.write_gds('COMPLEX109.gds')
